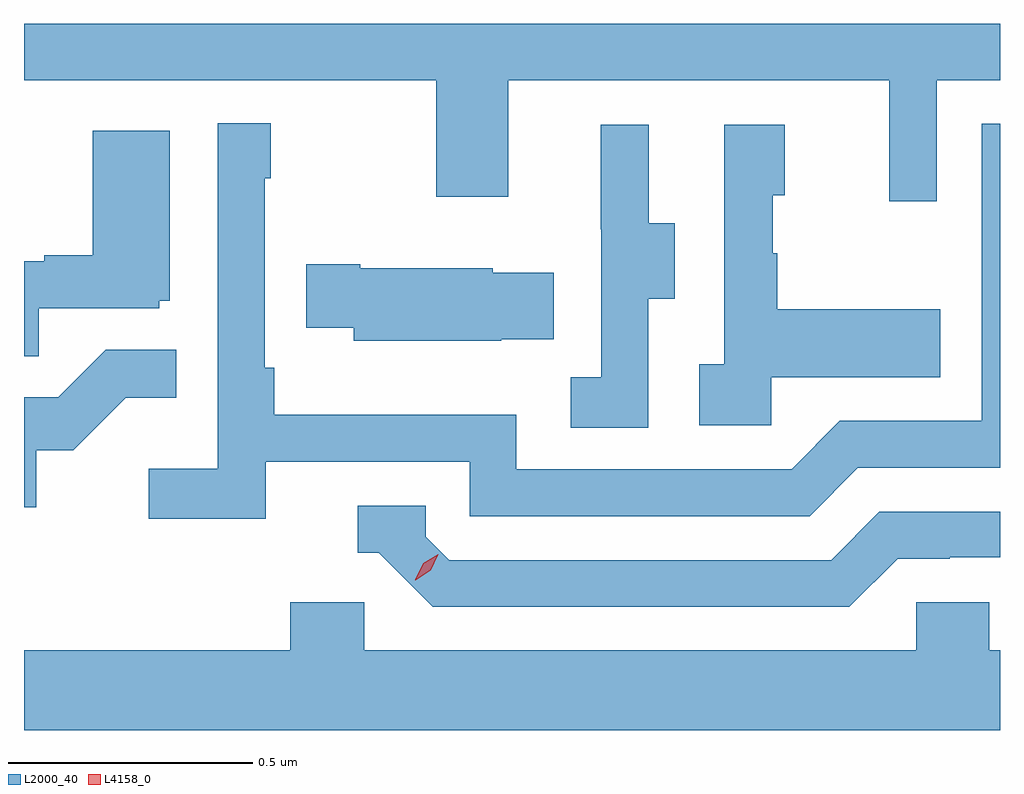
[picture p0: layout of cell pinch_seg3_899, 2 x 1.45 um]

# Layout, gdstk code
import gdstk
lib = gdstk.Library(unit=1e-6, precision=1e-09)
def P(c, l, *ps):  # polygons
    for p in ps: c.add(gdstk.Polygon(p, *l))
L2000_40 = (2000, 40)
L4158_0 = (4158, 0)

pinch_seg3_899 = lib.new_cell('pinch_seg3_899')
P(pinch_seg3_899, L2000_40, [(839.067,707.576),(839.197,707.576),(839.197,707.692),(837.197,707.692),(837.197,707.576),(838.042,707.576),(838.042,707.337),(838.189,707.337),(838.189,707.576),(838.97,707.576),(838.97,707.328),(839.067,707.328)],
  [(837.692,706.794),(838.11,706.794),(838.11,706.683),(838.807,706.683),(838.906,706.782),(839.197,706.782),(839.197,707.487),(839.16,707.487),(839.16,706.878),(838.869,706.878),(838.77,706.779),(838.206,706.779),(838.206,706.891),(837.71,706.891),(837.71,706.987),(837.69,706.987),(837.69,707.375),(837.703,707.375),(837.703,707.488),(837.594,707.488),(837.594,706.78),(837.453,706.78),(837.453,706.678),(837.692,706.678)],
  [(838.728,706.967),(839.075,706.967),(839.075,707.107),(838.741,707.107),(838.741,707.222),(838.731,707.222),(838.731,707.34),(838.756,707.34),(838.756,707.485),(838.632,707.485),(838.632,706.994),(838.581,706.994),(838.581,706.869),(838.728,706.869)],
  [(838.476,707.128),(838.531,707.128),(838.531,707.283),(838.477,707.283),(838.477,707.485),(838.379,707.485),(838.379,707.271),(838.38,707.271),(838.38,706.967),(838.317,706.967),(838.317,706.864),(838.476,706.864)],
  [(837.227,707.109),(837.474,707.109),(837.474,707.124),(837.496,707.124),(837.496,707.473),(837.338,707.473),(837.338,707.218),(837.239,707.218),(837.239,707.205),(837.197,707.205),(837.197,707.011),(837.227,707.011)],
  [(838.175,707.045),(838.283,707.045),(838.283,707.182),(838.158,707.182),(838.158,707.191),(837.886,707.191),(837.886,707.199),(837.775,707.199),(837.775,707.069),(837.873,707.069),(837.873,707.042),(838.175,707.042)],
  [(837.222,706.818),(837.298,706.818),(837.405,706.925),(837.509,706.925),(837.509,707.024),(837.365,707.024),(837.267,706.926),(837.197,706.926),(837.197,706.701),(837.222,706.701)],
  [(838.987,706.596),(839.094,706.596),(839.094,706.599),(839.197,706.599),(839.197,706.692),(838.95,706.692),(838.851,706.593),(838.068,706.593),(838.02,706.641),(838.02,706.704),(837.881,706.704),(837.881,706.608),(837.924,706.608),(838.035,706.497),(838.888,706.497)],
  [(839.197,706.408),(839.175,706.408),(839.175,706.506),(839.025,706.506),(839.025,706.408),(837.894,706.408),(837.894,706.506),(837.743,706.506),(837.743,706.408),(837.197,706.408),(837.197,706.244),(839.197,706.244)])
P(pinch_seg3_899, L4158_0, [(837.999,706.552),(837.999,706.553),(838.015,706.586),(838.046,706.605),(838.046,706.605),(838.046,706.605),(838.03,706.572),(838,706.552)])

lib.write_gds('pinch_seg3_899.gds')
